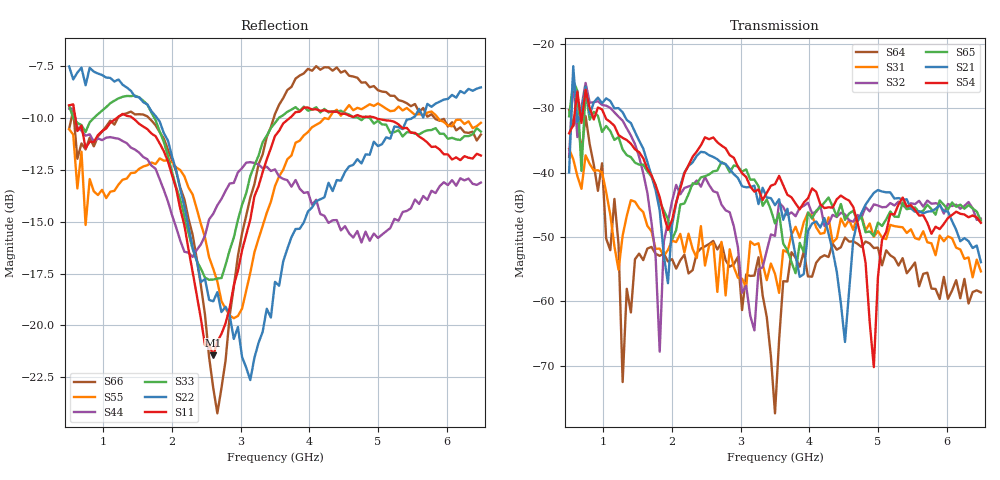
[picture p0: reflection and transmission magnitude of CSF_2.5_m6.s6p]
!Keysight Technologies,M9804A,MY58100912,A.14.10.03
!Date: Thursday, April 27, 2023 10:28:33
!Correction: S11(C  6-Port  )
!S12(C  6-Port  )
!S13(C  6-Port  )
!S14(C  6-Port  )
!S15(C  6-Port  )
!S16(C  6-Port  )
!S21(C  6-Port  )
!S22(C  6-Port  )
!S23(C  6-Port  )
!S24(C  6-Port  )
!S25(C  6-Port  )
!S26(C  6-Port  )
!S31(C  6-Port  )
!S32(C  6-Port  )
!S33(C  6-Port  )
!S34(C  6-Port  )
!S35(C  6-Port  )
!S36(C  6-Port  )
!S41(C  6-Port  )
!S42(C  6-Port  )
!S43(C  6-Port  )
!S44(C  6-Port  )
!S45(C  6-Port  )
!S46(C  6-Port  )
!S51(C  6-Port  )
!S52(C  6-Port  )
!S53(C  6-Port  )
!S54(C  6-Port  )
!S55(C  6-Port  )
!S56(C  6-Port  )
!S61(C  6-Port  )
!S62(C  6-Port  )
!S63(C  6-Port  )
!S64(C  6-Port  )
!S65(C  6-Port  )
!S66(C  6-Port  )
!S6P File: Measurement: :
# Hz S  RI  R 50
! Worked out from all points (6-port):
!   101 points, 500 MHz to 6.5 GHz, reference 50 ohm
!   strongest paths, dB at 500 MHz, 2 GHz, 3.5 GHz, 5 GHz, 6.5 GHz:
!     S54: -33.9, -47.4, -41.8, -56.2, -47.8
!     S21: -40.0, -48.2, -45.1, -42.7, -53.9
!     S65: -31.3, -50.4, -47.9, -47.8, -47.5
!     S32: -37.6, -44.5, -49.8, -45.1, -47.2
!     S31: -36.3, -50.6, -55.7, -49.1, -55.3
!     S64: -30.3, -53.4, -77.4, -51.7, -58.6
!   lowest |S11| = -21.4 dB at 2.6 GHz (marker M1), VSWR 1.18, Z = 42.5 + j2.15 ohm
!   |S11| at or under -10 dB: 590.9 MHz to 1.192 GHz (601.5 MHz wide, 67.5 % of centre); 1.427 GHz to 3.713 GHz (2.286 GHz wide, 88.9 % of centre); 4.971 GHz to end of sweep
